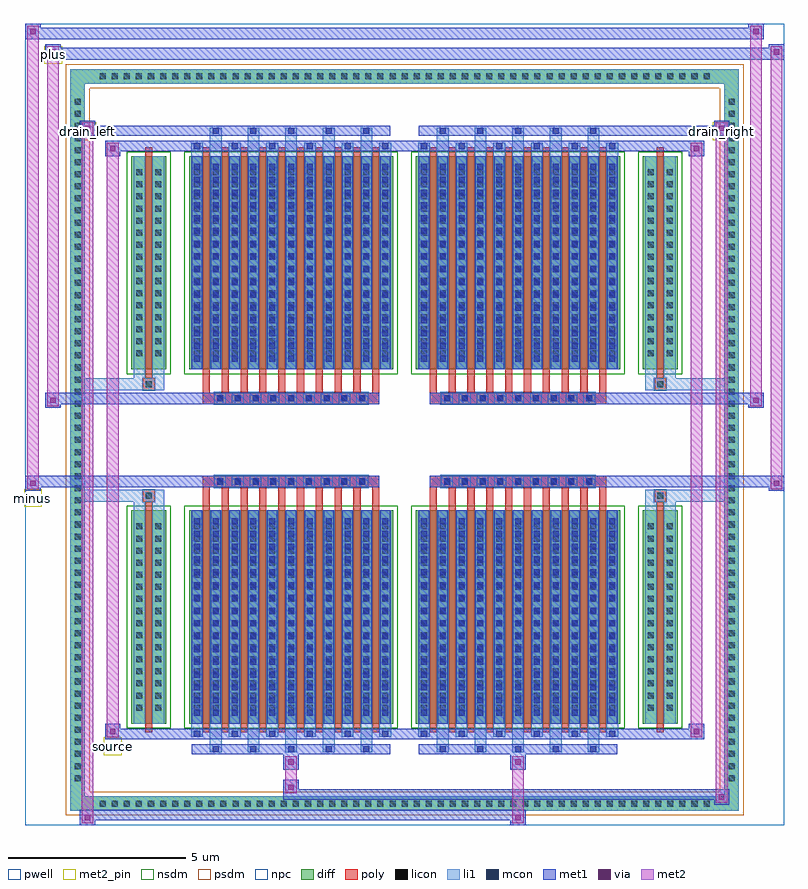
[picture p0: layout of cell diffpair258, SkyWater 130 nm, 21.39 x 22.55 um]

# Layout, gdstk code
import gdstk
lib = gdstk.Library(unit=1e-6, precision=5e-09)
def R(c, l, rs):  # rectangles x0, y0, x1, y1
    for r in rs: c.add(gdstk.rectangle(r[:2], r[2:], *l))
def A(c, l, x, y, w, h, nx, ny, dx, dy):  # array of equal rectangles
    R(c, l, [(x+i*dx, y+j*dy, x+i*dx+w, y+j*dy+h) for i in range(nx) for j in range(ny)])
def P(c, l, *ps):  # polygons
    for p in ps: c.add(gdstk.Polygon(p, *l))
pwell = (64, 44)
diff = (65, 20)
poly = (66, 20)
licon = (66, 44)
li1 = (67, 20)
mcon = (67, 44)
met1 = (68, 20)
via = (68, 44)
met2_pin = (69, 16)
met2 = (69, 20)
nsdm = (93, 44)
psdm = (94, 20)
npc = (95, 20)

diffpair258 = lib.new_cell('diffpair258')
R(diffpair258, pwell, [(-10.68,-10.84,10.68,11.71), (-8,-9.03,-0.01,-0.805), (0.01,-9.03,8,-0.805), (-8,0.805,-0.01,9.03), (0.01,0.805,8,9.03)])
A(diffpair258, diff, -8.705, -10.44, 0.41, 0.41, 51, 2, 0.34, 20.47)
A(diffpair258, diff, -9.41, -9.725, 0.41, 0.41, 1, 57, 0, 0.34)
A(diffpair258, diff, 9, -9.725, 0.41, 0.41, 1, 57, 0, 0.34)
R(diffpair258, diff, [(-8.705,-10.44,8.705,-10.03), (-9.41,-9.725,-9,9.725), (9,-9.725,9.41,9.725), (-7.69,-7.985,-6.71,-1.985), (-6.07,-7.985,-0.32,-1.985), (0.32,-7.985,6.07,-1.985), (6.71,-7.985,7.69,-1.985), (-7.69,1.985,-6.71,7.985), (-6.07,1.985,-0.32,7.985), (0.32,1.985,6.07,7.985), (6.71,1.985,7.69,7.985), (-8.705,10.03,8.705,10.44)])
P(diffpair258, diff, [(9.41,10.44),(-9.41,10.44),(-9.41,-10.03),(-9,-10.03),(-9,10.03),(9,10.03),(9,-10.03),(-9,-10.03),(-9.41,-10.03),(-9.41,-10.44),(9.41,-10.44)])
A(diffpair258, poly, -5.68, -8.235, 0.2, 6.5, 10, 2, 0.53, 9.97)
A(diffpair258, poly, 0.71, -8.235, 0.2, 6.5, 10, 2, 0.53, 9.97)
A(diffpair258, poly, -5.68, -1.735, 0.2, 0.4, 10, 2, 0.53, 3.07)
A(diffpair258, poly, 0.71, -1.735, 0.2, 0.4, 10, 2, 0.53, 3.07)
A(diffpair258, poly, -5.36, -1.335, 0.33, 0.33, 9, 2, 0.5, 2.34)
A(diffpair258, poly, 1.03, -1.335, 0.33, 0.33, 9, 2, 0.5, 2.34)
R(diffpair258, poly, [(-7.3,-8.235,-7.1,-1.735), (7.1,-8.235,7.3,-1.735), (-7.365,-1.735,-7.035,-1.405), (-7.365,-1.735,-7.035,-1.405), (7.035,-1.735,7.365,-1.405), (7.035,-1.735,7.365,-1.405), (-5.68,-1.335,-0.71,-1.005), (0.71,-1.335,5.68,-1.005), (-5.68,1.005,-0.71,1.335), (0.71,1.005,5.68,1.335), (-7.365,1.405,-7.035,1.735), (-7.365,1.405,-7.035,1.735), (7.035,1.405,7.365,1.735), (7.035,1.405,7.365,1.735), (-7.3,1.735,-7.1,8.235), (7.1,1.735,7.3,8.235)])
A(diffpair258, licon, -8.585, -10.32, 0.17, 0.17, 51, 2, 0.34, 20.47)
A(diffpair258, licon, -9.29, -9.605, 0.17, 0.17, 1, 57, 0, 0.34)
A(diffpair258, licon, 9.12, -9.605, 0.17, 0.17, 1, 57, 0, 0.34)
A(diffpair258, licon, -7.55, -7.62, 0.17, 0.17, 1, 16, 0, 0.34)
A(diffpair258, licon, -7.02, -7.62, 0.17, 0.17, 1, 16, 0, 0.34)
A(diffpair258, licon, -5.93, -7.62, 0.17, 0.17, 11, 16, 0.53, 0.34)
A(diffpair258, licon, 0.46, -7.62, 0.17, 0.17, 11, 16, 0.53, 0.34)
A(diffpair258, licon, 6.85, -7.62, 0.17, 0.17, 1, 16, 0, 0.34)
A(diffpair258, licon, 7.38, -7.62, 0.17, 0.17, 1, 16, 0, 0.34)
A(diffpair258, licon, -5.28, -1.255, 0.17, 0.17, 9, 2, 0.5, 2.34)
A(diffpair258, licon, 1.11, -1.255, 0.17, 0.17, 9, 2, 0.5, 2.34)
A(diffpair258, licon, -7.55, 2.35, 0.17, 0.17, 1, 16, 0, 0.34)
A(diffpair258, licon, -7.02, 2.35, 0.17, 0.17, 1, 16, 0, 0.34)
A(diffpair258, licon, -5.93, 2.35, 0.17, 0.17, 11, 16, 0.53, 0.34)
A(diffpair258, licon, 0.46, 2.35, 0.17, 0.17, 11, 16, 0.53, 0.34)
A(diffpair258, licon, 6.85, 2.35, 0.17, 0.17, 1, 16, 0, 0.34)
A(diffpair258, licon, 7.38, 2.35, 0.17, 0.17, 1, 16, 0, 0.34)
R(diffpair258, licon, [(-7.285,-1.655,-7.115,-1.485), (7.115,-1.655,7.285,-1.485), (-7.285,1.485,-7.115,1.655), (7.115,1.485,7.285,1.655)])
A(diffpair258, li1, -8.665, -10.4, 0.33, 0.33, 51, 2, 0.34, 20.47)
A(diffpair258, li1, -9.37, -9.685, 0.33, 0.33, 1, 57, 0, 0.34)
A(diffpair258, li1, 9.04, -9.685, 0.33, 0.33, 1, 57, 0, 0.34)
A(diffpair258, li1, -5.48, -8.79, 0.33, 0.805, 5, 2, 1.06, 16.775)
A(diffpair258, li1, -5.4, -8.79, 0.17, 0.17, 5, 2, 1.06, 17.41)
A(diffpair258, li1, 0.91, -8.79, 0.33, 0.805, 5, 2, 1.06, 16.775)
A(diffpair258, li1, 0.99, -8.79, 0.17, 0.17, 5, 2, 1.06, 17.41)
A(diffpair258, li1, -6.01, -8.36, 0.33, 0.375, 6, 2, 1.06, 16.345)
A(diffpair258, li1, -5.93, -8.36, 0.17, 0.17, 6, 2, 1.06, 16.55)
A(diffpair258, li1, 0.38, -8.36, 0.33, 0.375, 6, 2, 1.06, 16.345)
A(diffpair258, li1, 0.46, -8.36, 0.17, 0.17, 6, 2, 1.06, 16.55)
A(diffpair258, li1, -6.01, -7.985, 0.33, 6, 11, 2, 0.53, 9.97)
A(diffpair258, li1, 0.38, -7.985, 0.33, 6, 11, 2, 0.53, 9.97)
A(diffpair258, li1, -5.93, -7.77, 0.17, 0.17, 11, 16, 0.53, 0.36)
A(diffpair258, li1, -5.93, -7.77, 0.17, 5.57, 11, 2, 0.53, 9.97)
A(diffpair258, li1, 0.46, -7.77, 0.17, 0.17, 11, 16, 0.53, 0.36)
A(diffpair258, li1, 0.46, -7.77, 0.17, 5.57, 11, 2, 0.53, 9.97)
A(diffpair258, li1, -7.63, -7.7, 0.33, 0.33, 1, 16, 0, 0.34)
A(diffpair258, li1, -7.1, -7.7, 0.33, 0.33, 1, 16, 0, 0.34)
A(diffpair258, li1, -6.01, -7.7, 0.33, 0.33, 11, 16, 0.53, 0.34)
A(diffpair258, li1, 0.38, -7.7, 0.33, 0.33, 11, 16, 0.53, 0.34)
A(diffpair258, li1, 6.77, -7.7, 0.33, 0.33, 1, 16, 0, 0.34)
A(diffpair258, li1, 7.3, -7.7, 0.33, 0.33, 1, 16, 0, 0.34)
A(diffpair258, li1, -5.36, -1.335, 0.33, 0.33, 9, 2, 0.5, 2.34)
A(diffpair258, li1, 1.03, -1.335, 0.33, 0.33, 9, 2, 0.5, 2.34)
A(diffpair258, li1, -5.93, 2.2, 0.17, 0.17, 11, 16, 0.53, 0.36)
A(diffpair258, li1, 0.46, 2.2, 0.17, 0.17, 11, 16, 0.53, 0.36)
A(diffpair258, li1, -7.63, 2.27, 0.33, 0.33, 1, 16, 0, 0.34)
A(diffpair258, li1, -7.1, 2.27, 0.33, 0.33, 1, 16, 0, 0.34)
A(diffpair258, li1, -6.01, 2.27, 0.33, 0.33, 11, 16, 0.53, 0.34)
A(diffpair258, li1, 0.38, 2.27, 0.33, 0.33, 11, 16, 0.53, 0.34)
A(diffpair258, li1, 6.77, 2.27, 0.33, 0.33, 1, 16, 0, 0.34)
A(diffpair258, li1, 7.3, 2.27, 0.33, 0.33, 1, 16, 0, 0.34)
R(diffpair258, li1, [(-9.41,-10.44,-9,-10.03), (-9.41,-10.44,-9,-10.03), (-9,-10.44,9,-10.03), (9,-10.44,9.41,-10.03), (9,-10.44,9.41,-10.03), (-9.41,-10.03,-9,10.03), (9,-10.03,9.41,10.03), (-7.63,-7.985,-7.3,-1.985), (-7.1,-7.985,-6.77,-1.985), (6.77,-7.985,7.1,-1.985), (7.3,-7.985,7.63,-1.985), (-7.63,-1.985,-7.3,-1.405), (-7.1,-1.985,-6.77,-1.405), (6.77,-1.985,7.1,-1.405), (7.3,-1.985,7.63,-1.405), (-9.41,-1.735,-7.365,-1.405), (-7.63,-1.735,-7.365,-1.405), (-7.365,-1.735,-7.035,-1.405), (-7.035,-1.735,-6.77,-1.405), (6.77,-1.735,7.035,-1.405), (7.035,-1.735,7.365,-1.405), (7.035,-1.735,9.41,-1.405), (7.365,-1.735,7.63,-1.405), (-9.41,1.405,-7.365,1.735), (-7.63,1.405,-7.365,1.735), (-7.63,1.405,-7.3,1.985), (-7.365,1.405,-7.035,1.735), (-7.1,1.405,-6.77,1.985), (-7.035,1.405,-6.77,1.735), (6.77,1.405,7.035,1.735), (6.77,1.405,7.1,1.985), (7.035,1.405,7.365,1.735), (7.035,1.405,9.41,1.735), (7.3,1.405,7.63,1.985), (7.365,1.405,7.63,1.735), (-7.63,1.985,-7.3,7.985), (-7.1,1.985,-6.77,7.985), (6.77,1.985,7.1,7.985), (7.3,1.985,7.63,7.985), (-9.41,10.03,-9,10.44), (-9.41,10.03,-9,10.44), (-9,10.03,9,10.44), (9,10.03,9.41,10.44), (9,10.03,9.41,10.44)])
A(diffpair258, mcon, -5.4, -8.79, 0.17, 0.17, 5, 2, 1.06, 17.41)
A(diffpair258, mcon, 0.99, -8.79, 0.17, 0.17, 5, 2, 1.06, 17.41)
A(diffpair258, mcon, -5.93, -8.36, 0.17, 0.17, 6, 2, 1.06, 16.55)
A(diffpair258, mcon, 0.46, -8.36, 0.17, 0.17, 6, 2, 1.06, 16.55)
A(diffpair258, mcon, -5.93, -7.77, 0.17, 0.17, 11, 16, 0.53, 0.36)
A(diffpair258, mcon, 0.46, -7.77, 0.17, 0.17, 11, 16, 0.53, 0.36)
A(diffpair258, mcon, -5.28, -1.255, 0.17, 0.17, 9, 2, 0.5, 2.34)
A(diffpair258, mcon, 1.11, -1.255, 0.17, 0.17, 9, 2, 0.5, 2.34)
A(diffpair258, mcon, -5.93, 2.2, 0.17, 0.17, 11, 16, 0.53, 0.36)
A(diffpair258, mcon, 0.46, 2.2, 0.17, 0.17, 11, 16, 0.53, 0.36)
A(diffpair258, met1, -5.46, -8.85, 0.29, 0.29, 5, 2, 1.06, 17.41)
A(diffpair258, met1, 0.93, -8.85, 0.29, 0.29, 5, 2, 1.06, 17.41)
A(diffpair258, met1, -5.99, -8.42, 0.29, 0.29, 6, 2, 1.06, 16.55)
A(diffpair258, met1, 0.4, -8.42, 0.29, 0.29, 6, 2, 1.06, 16.55)
A(diffpair258, met1, -5.99, -7.985, 0.29, 6, 11, 2, 0.53, 9.97)
A(diffpair258, met1, 0.4, -7.985, 0.29, 6, 11, 2, 0.53, 9.97)
A(diffpair258, met1, -5.99, -7.83, 0.29, 0.29, 11, 16, 0.53, 0.36)
A(diffpair258, met1, 0.4, -7.83, 0.29, 0.29, 11, 16, 0.53, 0.36)
A(diffpair258, met1, -5.34, -1.315, 0.29, 0.29, 9, 2, 0.5, 2.34)
A(diffpair258, met1, 1.05, -1.315, 0.29, 0.29, 9, 2, 0.5, 2.34)
A(diffpair258, met1, -5.99, 2.14, 0.29, 0.29, 11, 16, 0.53, 0.36)
A(diffpair258, met1, 0.4, 2.14, 0.29, 0.29, 11, 16, 0.53, 0.36)
R(diffpair258, met1, [(-9.14,-10.84,-8.71,-10.41), (2.98,-10.84,3.41,-10.41), (-9.14,-10.7,3.41,-10.41), (8.71,-10.27,9.14,-9.84), (-3.41,-10.13,9.14,-9.84), (-3.41,-9.99,-2.98,-9.56), (-3.41,-9.28,-2.98,-8.85), (2.98,-9.28,3.41,-8.85), (-5.99,-8.85,-0.4,-8.56), (0.4,-8.85,5.99,-8.56), (-8.43,-8.42,-8,-7.99), (-8.43,-8.42,-5.99,-8.13), (-5.99,-8.42,-0.4,-8.13), (-0.4,-8.42,0.4,-8.13), (0.4,-8.42,5.99,-8.13), (5.99,-8.42,8.43,-8.13), (8,-8.42,8.43,-7.99), (-10.68,-1.435,-10.25,-1.005), (10.25,-1.435,10.68,-1.005), (-10.68,-1.335,-0.71,-1.005), (-5.68,-1.335,-0.71,-1.005), (0.71,-1.335,5.68,-1.005), (0.71,-1.335,10.68,-1.005), (-10.11,0.905,-9.68,1.335), (9.68,0.905,10.11,1.335), (-10.11,1.005,-5.68,1.335), (-5.68,1.005,-0.71,1.335), (0.71,1.005,5.68,1.335), (5.68,1.005,10.11,1.335), (-8.43,7.99,-8,8.42), (8,7.99,8.43,8.42), (-8.43,8.13,-5.99,8.42), (-5.99,8.13,-0.4,8.42), (-0.4,8.13,0.4,8.42), (0.4,8.13,5.99,8.42), (5.99,8.13,8.43,8.42), (-9.14,8.56,-8.71,8.99), (-9.14,8.56,-5.99,8.85), (-5.99,8.56,-0.4,8.85), (0.4,8.56,5.99,8.85), (5.99,8.56,9.14,8.85), (8.71,8.56,9.14,8.99), (-10.11,10.71,-9.68,11.14), (-10.11,10.71,-8,11.04), (-8,10.71,8,11.04), (8,10.71,10.68,11.04), (10.25,10.71,10.68,11.14), (-10.68,11.28,-10.25,11.71), (-10.68,11.28,-8,11.61), (-8,11.28,8,11.61), (8,11.28,10.11,11.61), (9.68,11.28,10.11,11.71)])
R(diffpair258, via, [(-9,-10.7,-8.85,-10.55), (3.12,-10.7,3.27,-10.55), (8.85,-10.13,9,-9.98), (-3.27,-9.85,-3.12,-9.7), (-3.27,-9.14,-3.12,-8.99), (3.12,-9.14,3.27,-8.99), (-8.29,-8.28,-8.14,-8.13), (8.14,-8.28,8.29,-8.13), (-10.54,-1.295,-10.39,-1.145), (10.39,-1.295,10.54,-1.145), (-9.97,1.045,-9.82,1.195), (9.82,1.045,9.97,1.195), (-8.29,8.13,-8.14,8.28), (8.14,8.13,8.29,8.28), (-9,8.7,-8.85,8.85), (8.85,8.7,9,8.85), (-9.97,10.85,-9.82,11), (10.39,10.85,10.54,11), (-10.54,11.42,-10.39,11.57), (9.82,11.42,9.97,11.57)])
R(diffpair258, met2_pin, [(-8.465,-8.87,-7.965,-8.37), (-10.715,-1.885,-10.215,-1.385), (-9.175,8.44,-8.675,8.94), (8.675,8.44,9.175,8.94), (-10.145,10.59,-9.645,11.09)])
R(diffpair258, met2, [(-9.09,-10.79,-8.76,-10.46), (-9.09,-10.79,-8.76,8.94), (3.03,-10.79,3.36,-10.46), (3.03,-10.46,3.36,-9.23), (8.76,-10.22,9.09,-9.89), (8.76,-10.22,9.09,8.94), (-3.36,-9.94,-3.03,-9.61), (-3.36,-9.61,-3.03,-9.23), (-3.36,-9.23,-3.03,-8.9), (3.03,-9.23,3.36,-8.9), (-8.38,-8.37,-8.05,-8.04), (-8.38,-8.37,-8.05,8.37), (8.05,-8.37,8.38,-8.04), (8.05,-8.37,8.38,8.37), (-10.63,-1.385,-10.3,-1.055), (-10.63,-1.385,-10.3,11.66), (10.3,-1.385,10.63,-1.055), (10.3,-1.385,10.63,11.09), (-10.06,0.955,-9.73,1.285), (-10.06,0.955,-9.73,11.09), (9.73,0.955,10.06,1.285), (9.73,0.955,10.06,11.66), (-8.38,8.04,-8.05,8.37), (8.05,8.04,8.38,8.37), (-9.09,8.61,-8.76,8.94), (8.76,8.61,9.09,8.94), (-10.06,10.76,-9.73,11.09), (10.3,10.76,10.63,11.09), (-10.63,11.33,-10.3,11.66), (9.73,11.33,10.06,11.66)])
P(diffpair258, met2, [(10.63,-1.385),(10.63,-1.385),(10.63,-1.055),(10.63,-1.055)],
  [(10.63,10.76),(10.63,10.76),(10.63,11.09),(10.63,11.09)],
  [(-10.3,-1.385),(-10.3,-1.385),(-10.3,-1.055),(-10.3,-1.055)],
  [(-10.3,11.33),(-10.3,11.33),(-10.3,11.66),(-10.3,11.66)],
  [(10.06,0.955),(10.06,0.955),(10.06,1.285),(10.06,1.285)],
  [(10.06,11.33),(10.06,11.33),(10.06,11.66),(10.06,11.66)],
  [(-9.73,0.955),(-9.73,0.955),(-9.73,1.285),(-9.73,1.285)],
  [(-9.73,10.76),(-9.73,10.76),(-9.73,11.09),(-9.73,11.09)],
  [(-8.76,-10.79),(-8.76,-10.79),(-8.76,-10.46),(-8.76,-10.46)],
  [(-8.76,8.61),(-8.76,8.61),(-8.76,8.94),(-8.76,8.94)],
  [(9.09,-10.22),(9.09,-10.22),(9.09,-9.89),(9.09,-9.89)],
  [(9.09,8.61),(9.09,8.61),(9.09,8.94),(9.09,8.94)],
  [(-8.05,-8.37),(-8.05,-8.37),(-8.05,-8.04),(-8.05,-8.04)],
  [(-8.05,8.04),(-8.05,8.04),(-8.05,8.37),(-8.05,8.37)],
  [(8.38,-8.37),(8.38,-8.37),(8.38,-8.04),(8.38,-8.04)],
  [(8.38,8.04),(8.38,8.04),(8.38,8.37),(8.38,8.37)])
R(diffpair258, nsdm, [(-7.82,-8.115,-6.58,-1.855), (-6.2,-8.115,-0.19,-1.855), (0.19,-8.115,6.2,-1.855), (6.58,-8.115,7.82,-1.855), (-7.82,1.855,-6.58,8.115), (-6.2,1.855,-0.19,8.115), (0.19,1.855,6.2,8.115), (6.58,1.855,7.82,8.115)])
P(diffpair258, psdm, [(9.54,10.57),(-9.54,10.57),(-9.54,-9.9),(-8.87,-9.9),(-8.87,9.9),(8.87,9.9),(8.87,-9.9),(-8.87,-9.9),(-9.54,-9.9),(-9.54,-10.57),(9.54,-10.57)])
A(diffpair258, npc, -5.38, -1.355, 0.37, 0.37, 9, 2, 0.5, 2.34)
A(diffpair258, npc, 1.01, -1.355, 0.37, 0.37, 9, 2, 0.5, 2.34)
R(diffpair258, npc, [(-7.385,-1.755,-7.015,-1.385), (7.015,-1.755,7.385,-1.385), (-5.38,-1.355,-4.51,-0.985), (-5.38,-1.355,-4.51,-0.985), (-4.88,-1.355,-4.01,-0.985), (-4.88,-1.355,-4.01,-0.985), (-4.38,-1.355,-3.51,-0.985), (-4.38,-1.355,-3.51,-0.985), (-3.88,-1.355,-3.01,-0.985), (-3.88,-1.355,-3.01,-0.985), (-3.38,-1.355,-2.51,-0.985), (-3.38,-1.355,-2.51,-0.985), (-2.88,-1.355,-2.01,-0.985), (-2.88,-1.355,-2.01,-0.985), (-2.38,-1.355,-1.51,-0.985), (-2.38,-1.355,-1.51,-0.985), (-1.88,-1.355,-1.01,-0.985), (-1.88,-1.355,-1.01,-0.985), (1.01,-1.355,1.88,-0.985), (1.01,-1.355,1.88,-0.985), (1.51,-1.355,2.38,-0.985), (1.51,-1.355,2.38,-0.985), (2.01,-1.355,2.88,-0.985), (2.01,-1.355,2.88,-0.985), (2.51,-1.355,3.38,-0.985), (2.51,-1.355,3.38,-0.985), (3.01,-1.355,3.88,-0.985), (3.01,-1.355,3.88,-0.985), (3.51,-1.355,4.38,-0.985), (3.51,-1.355,4.38,-0.985), (4.01,-1.355,4.88,-0.985), (4.01,-1.355,4.88,-0.985), (4.51,-1.355,5.38,-0.985), (4.51,-1.355,5.38,-0.985), (-5.38,0.985,-4.51,1.355), (-5.38,0.985,-4.51,1.355), (-4.88,0.985,-4.01,1.355), (-4.88,0.985,-4.01,1.355), (-4.38,0.985,-3.51,1.355), (-4.38,0.985,-3.51,1.355), (-3.88,0.985,-3.01,1.355), (-3.88,0.985,-3.01,1.355), (-3.38,0.985,-2.51,1.355), (-3.38,0.985,-2.51,1.355), (-2.88,0.985,-2.01,1.355), (-2.88,0.985,-2.01,1.355), (-2.38,0.985,-1.51,1.355), (-2.38,0.985,-1.51,1.355), (-1.88,0.985,-1.01,1.355), (-1.88,0.985,-1.01,1.355), (1.01,0.985,1.88,1.355), (1.01,0.985,1.88,1.355), (1.51,0.985,2.38,1.355), (1.51,0.985,2.38,1.355), (2.01,0.985,2.88,1.355), (2.01,0.985,2.88,1.355), (2.51,0.985,3.38,1.355), (2.51,0.985,3.38,1.355), (3.01,0.985,3.88,1.355), (3.01,0.985,3.88,1.355), (3.51,0.985,4.38,1.355), (3.51,0.985,4.38,1.355), (4.01,0.985,4.88,1.355), (4.01,0.985,4.88,1.355), (4.51,0.985,5.38,1.355), (4.51,0.985,5.38,1.355), (-7.385,1.385,-7.015,1.755), (7.015,1.385,7.385,1.755)])
diffpair258.add(gdstk.Label('minus', (-10.465,-1.635), layer=69, texttype=5))
diffpair258.add(gdstk.Label('drain_right', (8.925,8.69), layer=69, texttype=5))
diffpair258.add(gdstk.Label('drain_left', (-8.925,8.69), layer=69, texttype=5))
diffpair258.add(gdstk.Label('source', (-8.215,-8.62), layer=69, texttype=5))
diffpair258.add(gdstk.Label('plus', (-9.895,10.84), layer=69, texttype=5))

lib.write_gds('diffpair258.gds')
